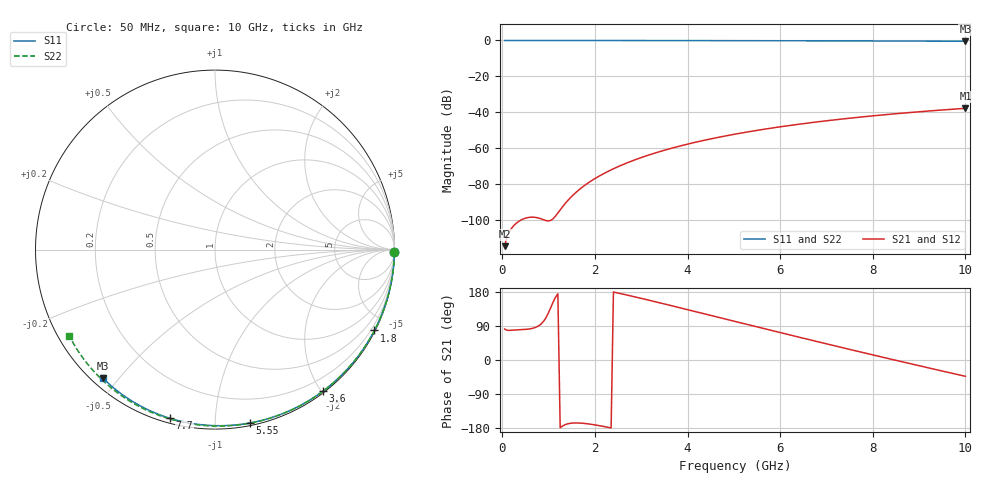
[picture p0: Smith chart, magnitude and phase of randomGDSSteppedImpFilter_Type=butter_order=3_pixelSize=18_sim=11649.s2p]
! freq	dB(S11)	phase(S11)	dB(S12)	phase(S12)
!  dB(S21)	phase(S21)	dB(S22)	phase(S22)
!S-par simulation data
#  GHz  S  DB  R 50
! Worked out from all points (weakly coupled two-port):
!   200 points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, 50 MHz to 10 GHz, reference 50 ohm
!   highest |S21| = -37.81 dB at 10 GHz (marker M1); lowest = -114.6 dB at 50 MHz (marker M2)
!   lowest |S11| = -0.4 dB at 10 GHz (marker M3), VSWR 39.13, Z = 1.54 - j22.6 ohm
!   |S11| at or under -10 dB: nowhere
!   |S22| runs from -0.5 to 0.0 dB; largest |S21 - S12| = 0
!   S11 on the Smith chart (normalised r, x): 50 MHz: open; 1.8 GHz: 0.04, -4.18; 3.6 GHz: 0.02, -2.02; 5.55 GHz: 0.02, -1.22; 7.7 GHz: 0.02, -0.77; 10 GHz: 0.03, -0.45
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0.05  -0.00 -0.8  -114.61 81.6  -114.61 81.6  -0.00 -0.9
0.45  -0.01 -6.8  -99.49 80.3  -99.49 80.3  -0.01 -7.8
0.9  -0.02 -13.6  -99.98 103.5  -99.98 103.5  -0.02 -15.5
1.3  -0.02 -19.5  -92.67 -174.2  -92.67 -174.2  -0.03 -22.3
1.75  -0.03 -26.2  -81.29 -167.1  -81.29 -167.1  -0.04 -29.8
1.8  -0.03 -26.9  -80.34 -167.7  -80.34 -167.7  -0.04 -30.7
1.85  -0.04 -27.6  -79.44 -168.5  -79.44 -168.5  -0.04 -31.5
2  -0.04 -29.8  -76.95 -171.2  -76.95 -171.2  -0.04 -34.0
2.15  -0.04 -32.0  -74.74 -174.5  -74.74 -174.5  -0.05 -36.5
2.5  -0.05 -37.1  -70.31 176.7  -70.31 176.7  -0.05 -42.2
2.9  -0.06 -42.8  -66.16 165.6  -66.16 165.6  -0.06 -48.7
3.4  -0.07 -49.8  -61.91 150.9  -61.91 150.9  -0.08 -56.6
3.6  -0.07 -52.6  -60.43 144.9  -60.43 144.9  -0.08 -59.8
4.3  -0.09 -62.2  -55.95 123.8  -55.95 123.8  -0.10 -70.5
5.05  -0.11 -72.1  -52.08 101.0  -52.08 101.0  -0.13 -81.7
5.55  -0.13 -78.6  -49.88 85.9  -49.88 85.9  -0.15 -89.0
6.1  -0.15 -85.5  -47.74 69.4  -47.74 69.4  -0.17 -96.8
6.7  -0.18 -92.9  -45.69 51.5  -45.69 51.5  -0.21 -105.1
7.7  -0.24 -104.9  -42.77 22.2  -42.77 22.2  -0.27 -118.7
8.35  -0.29 -112.5  -41.16 3.4  -41.16 3.4  -0.33 -127.3
9.2  -0.36 -122.2  -39.31 -20.7  -39.31 -20.7  -0.41 -138.6
10  -0.44 -131.2  -37.81 -43.0  -37.81 -43.0  -0.51 -149.3
